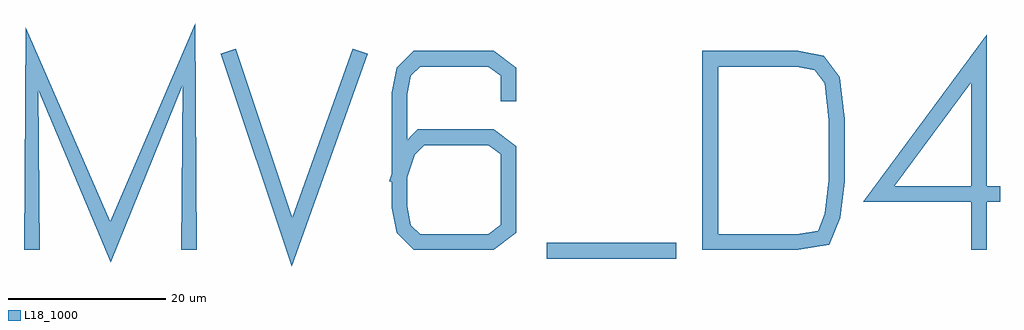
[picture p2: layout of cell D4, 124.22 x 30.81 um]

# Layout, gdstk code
import gdstk
lib = gdstk.Library(unit=1e-6, precision=1e-09)
L18_1000 = (18, 1000)

c_d4 = lib.new_cell('D4')
c_d4.add(gdstk.FlexPath([(-480.012,-306.995),(-480.012,-283.662),(-470.012,-306.995),(-460.012,-283.107),(-460.012,-306.995)], 2, ends="extended", simple_path=True, layer=18, datatype=1000))  # L18_1000
c_d4.add(gdstk.FlexPath([(-454.679,-283.662),(-446.902,-306.995),(-438.568,-283.662)], 2, ends="extended", simple_path=True, layer=18, datatype=1000))  # L18_1000
c_d4.add(gdstk.FlexPath([(-419.347,-288.107),(-419.347,-285.329),(-421.569,-283.662),(-431.013,-283.662),(-432.68,-285.329),(-433.235,-288.107),(-433.235,-302.551),(-432.68,-305.329),(-431.013,-306.995),(-421.569,-306.995),(-419.347,-305.329),(-419.347,-295.329),(-421.569,-293.662),(-430.458,-293.662),(-432.124,-295.329),(-433.235,-298.662)], 2, ends="extended", simple_path=True, layer=18, datatype=1000))  # L18_1000
c_d4.add(gdstk.FlexPath([(-413.458,-308.106),(-399.014,-308.106)], 2, ends="extended", simple_path=True, layer=18, datatype=1000))  # L18_1000
c_d4.add(gdstk.FlexPath([(-393.681,-306.995),(-393.681,-283.662),(-382.57,-283.662),(-379.793,-284.218),(-378.126,-286.44),(-377.57,-291.44),(-377.57,-299.218),(-378.126,-303.662),(-379.237,-306.44),(-382.57,-306.995),(-393.681,-306.995)], 2, ends="extended", simple_path=True, layer=18, datatype=1000))  # L18_1000
c_d4.add(gdstk.FlexPath([(-357.793,-300.884),(-372.237,-300.884),(-359.46,-283.662),(-359.46,-306.995)], 2, ends="extended", simple_path=True, layer=18, datatype=1000))  # L18_1000

lib.write_gds('D4.gds')
